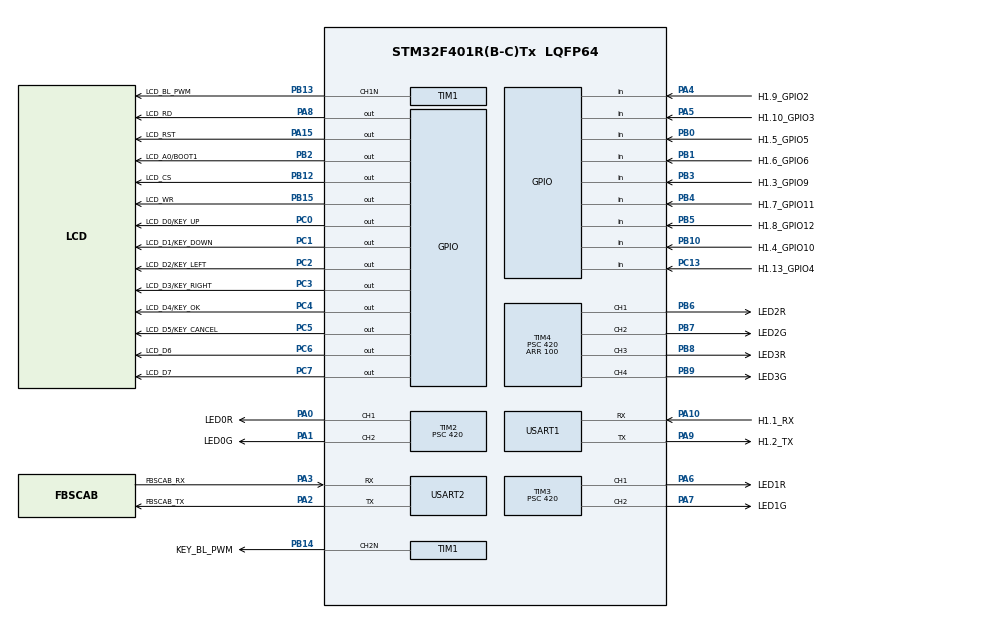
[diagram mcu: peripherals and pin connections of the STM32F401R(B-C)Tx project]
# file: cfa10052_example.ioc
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Mcu.Family=STM32F4
Mcu.Name=STM32F401R(B-C)Tx
Mcu.Package=LQFP64
NVIC.PriorityGroup=NVIC_PRIORITYGROUP_4
NVIC.USART1_IRQn=true\:0\:0\:false\:false\:true\:true\:true
PA0-WKUP.GPIO_Label=LED0R
PA0-WKUP.GPIO_Speed=GPIO_SPEED_FREQ_VERY_HIGH
PA0-WKUP.Signal=S_TIM2_CH1_ETR
PA1.GPIO_Label=LED0G
PA1.GPIO_Speed=GPIO_SPEED_FREQ_VERY_HIGH
PA1.Signal=S_TIM2_CH2
PA10.GPIO_Label=H1.1_RX
PA10.Mode=Asynchronous
PA10.Signal=USART1_RX
PA11.GPIO_Label=USB_DM
PA11.Signal=USB_OTG_FS_DM
PA12.GPIO_Label=USB_DP
PA12.Signal=USB_OTG_FS_DP
PA13.GPIO_Label=H1.11_SWDIO_GPIO0
PA13.Mode=Serial_Wire
PA13.Signal=SYS_JTMS-SWDIO
PA14.GPIO_Label=H1.12_SWCLK_GPIO1
PA14.Mode=Serial_Wire
PA14.Signal=SYS_JTCK-SWCLK
PA15.GPIO_Label=LCD_RST
PA15.GPIO_Speed=GPIO_SPEED_FREQ_VERY_HIGH
PA15.Signal=GPIO_Output
PA2.GPIO_Label=FBSCAB_TX
PA2.Mode=Asynchronous
PA2.Signal=USART2_TX
PA3.GPIO_Label=FBSCAB_RX
PA3.Mode=Asynchronous
PA3.Signal=USART2_RX
PA4.GPIO_Label=H1.9_GPIO2
PA4.Signal=GPIO_Input
PA5.GPIO_Label=H1.10_GPIO3
PA5.Signal=GPIO_Input
PA6.GPIO_Label=LED1R
PA6.GPIO_Speed=GPIO_SPEED_FREQ_VERY_HIGH
PA6.Signal=S_TIM3_CH1
PA7.GPIO_Label=LED1G
PA7.GPIO_Speed=GPIO_SPEED_FREQ_VERY_HIGH
PA7.Signal=S_TIM3_CH2
PA8.GPIO_Label=LCD_RD
PA8.GPIO_Speed=GPIO_SPEED_FREQ_VERY_HIGH
PA8.Signal=GPIO_Output
PA9.GPIO_Label=H1.2_TX
PA9.Mode=Asynchronous
PA9.Signal=USART1_TX
PB0.GPIO_Label=H1.5_GPIO5
PB0.Signal=GPIO_Input
PB1.GPIO_Label=H1.6_GPIO6
PB1.Signal=GPIO_Input
PB10.GPIO_Label=H1.4_GPIO10
PB10.Signal=GPIO_Input
PB12.GPIO_Label=LCD_CS
PB12.GPIO_Speed=GPIO_SPEED_FREQ_VERY_HIGH
PB12.Signal=GPIO_Output
PB13.GPIO_Label=LCD_BL_PWM
PB13.GPIO_Speed=GPIO_SPEED_FREQ_VERY_HIGH
PB13.Mode=PWM Generation1 CH1N
PB13.Signal=TIM1_CH1N
PB14.GPIO_Label=KEY_BL_PWM
PB14.GPIO_Speed=GPIO_SPEED_FREQ_VERY_HIGH
PB14.Mode=PWM Generation2 CH2N
PB14.Signal=TIM1_CH2N
PB15.GPIO_Label=LCD_WR
PB15.GPIO_Speed=GPIO_SPEED_FREQ_VERY_HIGH
PB15.Signal=GPIO_Output
PB2.GPIO_Label=LCD_A0/BOOT1
PB2.GPIO_Speed=GPIO_SPEED_FREQ_VERY_HIGH
PB2.Signal=GPIO_Output
PB3.GPIO_Label=H1.3_GPIO9
PB3.Signal=GPIO_Input
PB4.GPIO_Label=H1.7_GPIO11
PB4.Signal=GPIO_Input
PB5.GPIO_Label=H1.8_GPIO12
PB5.Signal=GPIO_Input
PB6.GPIO_Label=LED2R
PB6.GPIO_Speed=GPIO_SPEED_FREQ_VERY_HIGH
PB6.Signal=S_TIM4_CH1
PB7.GPIO_Label=LED2G
PB7.GPIO_Speed=GPIO_SPEED_FREQ_VERY_HIGH
PB7.Signal=S_TIM4_CH2
PB8.GPIO_Label=LED3R
PB8.GPIO_Speed=GPIO_SPEED_FREQ_VERY_HIGH
PB8.Signal=S_TIM4_CH3
PB9.GPIO_Label=LED3G
PB9.GPIO_Speed=GPIO_SPEED_FREQ_VERY_HIGH
PB9.Signal=S_TIM4_CH4
PC0.GPIO_Label=LCD_D0/KEY_UP
PC0.GPIO_Speed=GPIO_SPEED_FREQ_VERY_HIGH
PC0.Signal=GPIO_Output
PC1.GPIO_Label=LCD_D1/KEY_DOWN
PC1.GPIO_Speed=GPIO_SPEED_FREQ_VERY_HIGH
PC1.Signal=GPIO_Output
PC10.GPIO_Label=MICROSD_D2
PC10.Signal=SDIO_D2
PC11.GPIO_Label=MICROSD_D3
PC11.Signal=SDIO_D3
PC12.GPIO_Label=MICROSD_CK
PC12.Signal=SDIO_CK
PC13-ANTI_TAMP.GPIO_Label=H1.13_GPIO4
PC13-ANTI_TAMP.Signal=GPIO_Input
PC2.GPIO_Label=LCD_D2/KEY_LEFT
PC2.GPIO_Speed=GPIO_SPEED_FREQ_VERY_HIGH
PC2.Signal=GPIO_Output
PC3.GPIO_Label=LCD_D3/KEY_RIGHT
PC3.GPIO_Speed=GPIO_SPEED_FREQ_VERY_HIGH
PC3.Signal=GPIO_Output
PC4.GPIO_Label=LCD_D4/KEY_OK
PC4.GPIO_Speed=GPIO_SPEED_FREQ_VERY_HIGH
PC4.Signal=GPIO_Output
PC5.GPIO_Label=LCD_D5/KEY_CANCEL
PC5.GPIO_Speed=GPIO_SPEED_FREQ_VERY_HIGH
PC5.Signal=GPIO_Output
PC6.GPIO_Label=LCD_D6
PC6.GPIO_Speed=GPIO_SPEED_FREQ_VERY_HIGH
PC6.Signal=GPIO_Output
PC7.GPIO_Label=LCD_D7
PC7.GPIO_Speed=GPIO_SPEED_FREQ_VERY_HIGH
PC7.Signal=GPIO_Output
PC8.GPIO_Label=MICROSD_D0
PC8.Signal=SDIO_D0
PC9.GPIO_Label=MICROSD_D1
PC9.Signal=SDIO_D1
PD2.GPIO_Label=MICROSD_CMD
PD2.Signal=SDIO_CMD
PH0\ -\ OSC_IN.GPIO_Label=OSC_IN
PH0\ -\ OSC_IN.Mode=HSE-External-Oscillator
PH0\ -\ OSC_IN.Signal=RCC_OSC_IN
PH1\ -\ OSC_OUT.GPIO_Label=OSC_OUT
PH1\ -\ OSC_OUT.Mode=HSE-External-Oscillator
PH1\ -\ OSC_OUT.Signal=RCC_OSC_OUT
ProjectManager.HeapSize=0x200
ProjectManager.StackSize=0x400
ProjectManager.TargetToolchain=STM32CubeIDE
RCC.48MHZClocksFreq_Value=48000000
RCC.AHBFreq_Value=84000000
RCC.APB1CLKDivider=RCC_HCLK_DIV2
RCC.APB1Freq_Value=42000000
RCC.APB1TimFreq_Value=84000000
RCC.APB2Freq_Value=84000000
RCC.APB2TimFreq_Value=84000000
RCC.CortexFreq_Value=84000000
RCC.HCLKFreq_Value=84000000
RCC.HSE_VALUE=16000000
RCC.HSI_VALUE=16000000
RCC.LSE_VALUE=32768
RCC.PLLM=8
RCC.PLLN=168
RCC.PLLP=RCC_PLLP_DIV4
RCC.PLLQ=7
RCC.PLLSourceVirtual=RCC_PLLSOURCE_HSE
RCC.SYSCLKFreq_VALUE=84000000
RCC.SYSCLKSource=RCC_SYSCLKSOURCE_PLLCLK
RCC.VCOOutputFreq_Value=336000000
SH.S_TIM2_CH1_ETR.0=TIM2_CH1,PWM Generation1 CH1
SH.S_TIM2_CH2.0=TIM2_CH2,PWM Generation2 CH2
SH.S_TIM3_CH1.0=TIM3_CH1,PWM Generation1 CH1
SH.S_TIM3_CH2.0=TIM3_CH2,PWM Generation2 CH2
SH.S_TIM4_CH1.0=TIM4_CH1,PWM Generation1 CH1
SH.S_TIM4_CH2.0=TIM4_CH2,PWM Generation2 CH2
SH.S_TIM4_CH3.0=TIM4_CH3,PWM Generation3 CH3
SH.S_TIM4_CH4.0=TIM4_CH4,PWM Generation4 CH4
TIM1.Channel-PWM\ Generation1\ CH1N=TIM_CHANNEL_1
TIM1.Channel-PWM\ Generation2\ CH2N=TIM_CHANNEL_2
TIM1.CounterMode=TIM_COUNTERMODE_DOWN
TIM1.Period=100
TIM1.Prescaler=9
TIM2.Channel-PWM\ Generation1\ CH1=TIM_CHANNEL_1
TIM2.Channel-PWM\ Generation2\ CH2=TIM_CHANNEL_2
TIM2.Period=100
TIM2.Prescaler=420
TIM3.Channel-PWM\ Generation1\ CH1=TIM_CHANNEL_1
TIM3.Channel-PWM\ Generation2\ CH2=TIM_CHANNEL_2
TIM3.Period=100
TIM3.Prescaler=420
TIM4.Channel-PWM\ Generation1\ CH1=TIM_CHANNEL_1
TIM4.Channel-PWM\ Generation2\ CH2=TIM_CHANNEL_2
TIM4.Channel-PWM\ Generation3\ CH3=TIM_CHANNEL_3
TIM4.Channel-PWM\ Generation4\ CH4=TIM_CHANNEL_4
TIM4.Period=100
TIM4.Prescaler=420
USART1.VirtualMode=VM_ASYNC
USART2.VirtualMode=VM_ASYNC
VP_TIM1_VS_ClockSourceINT.Mode=Internal
VP_TIM2_VS_ClockSourceINT.Mode=Internal
VP_TIM3_VS_ClockSourceINT.Mode=Internal
VP_TIM4_VS_ClockSourceINT.Mode=Internal
board=custom

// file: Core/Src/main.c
/* USER CODE BEGIN Header */
/**
 ******************************************************************************
 * @file           : main.c
 * @brief          : Main program body
 ******************************************************************************
 *
 * Crystalfontz CFA10052 (hardware v1.1 onwards) example/base firmware.
 *
 * For more information about this CFA10052 example custom firmware package,
 * please see the README.md file.
 *
 ******************************************************************************
 *
 * Crystalfontz supplied source-code is provided using The Unlicense.
 * A license with no conditions whatsoever which dedicates works to the public
 * domain. Unlicensed works, modifications, and larger works may be distributed
 * under different terms and without source code.
 * See the UNLICENCE file, or https://unlicense.org/ for details.
 *
 * STM32Cube created source-code and STMicroelectronics libraries are Copyright(c)
 * 2019 STMicroelectronics. All rights reserved.
 * This software component is licensed by ST under BSD 3-Clause license,
 * the "License"; You may not use this file except in compliance with the
 * License.
 * You may obtain a copy of the License at: opensource.org/licenses/BSD-3-Clause
 *
 ******************************************************************************
 */
/* USER CODE END Header */
#include "main.h"
#include "tim.h"
#include "usart.h"
#include "gpio.h"

/* USER CODE BEGIN Includes */
#include "keypad.h"
#include "leds.h"
#include "lcd_core.h"
#include "tprintf.h"
/* USER CODE END Includes */

/* USER CODE BEGIN PD */

//LCD Controller/Panel type must be set here!
// CFA10052 hardware version v1.0 to v1.5 = LCDCORE_ST7529
// CFA10052 hardware version v1.6 to v1.9 = LCDCORE_UC1611S
// CFA10052 hardware version v1.9+ = LCDCORE_UC1611S_INV

//#define LCD_TYPE		LCDCORE_ST7529
//#define LCD_TYPE		LCDCORE_UC1611S
//#define LCD_TYPE		LCDCORE_UC1611S_INV

#ifndef LCD_TYPE
# error LCD_TYPE NOT SET!!!
#endif

/* USER CODE END PD */

/* USER CODE BEGIN PV */
uint8_t LCD_FrameBuffer[LCD_WIDTH * LCD_HEIGHT];
/* USER CODE END PV */

void SystemClock_Config(void);

/* USER CODE BEGIN 0 */
void User_USART1_IRQHandler(void)
{
	//incoming data on USART1 (CFA10052 H1, pins 1 & 2)
	//called by USART1_IRQHandler() in stm32f4xx_it.c
	//echo data back to USART1
	if (LL_USART_IsActiveFlag_RXNE(USART1))
	{
		uint8_t Data = LL_USART_ReceiveData8(USART1);
		LL_USART_TransmitData8(USART1, Data);
		LL_USART_ClearFlag_RXNE(USART1);
	}
}
/* USER CODE END 0 */

int main(void)
{

	/* MCU Configuration--------------------------------------------------------*/

	/* Reset of all peripherals, Initializes the Flash interface and the Systick. */

	LL_APB2_GRP1_EnableClock(LL_APB2_GRP1_PERIPH_SYSCFG);
	LL_APB1_GRP1_EnableClock(LL_APB1_GRP1_PERIPH_PWR);

	NVIC_SetPriorityGrouping(NVIC_PRIORITYGROUP_4);

	/* System interrupt init*/

	/* Configure the system clock */
	SystemClock_Config();

	/* Initialize all configured peripherals */
	MX_GPIO_Init();
	MX_TIM1_Init();
	MX_TIM2_Init();
	MX_TIM3_Init();
	MX_TIM4_Init();
	MX_USART1_UART_Init();
	MX_USART2_UART_Init();
	/* USER CODE BEGIN 2 */

	//CFA10052 specific init's
	LL_SYSTICK_EnableIT();
	LEDs_Init();
	Keypad_Init();
	LCDCore_Init(LCD_TYPE);

	/* USER CODE END 2 */

	/* Infinite loop */
	/* USER CODE BEGIN WHILE */
	char TempS[40];
	uint8_t LEDRotate = 0;
	uint8_t Contrast = 128;
	uint8_t Backlight = 40;
	uint8_t Keypad = 30;
	uint8_t c = 0;
	uint8_t Pressed[BUTTON_COUNT] =	{ 0, };
	while (1)
	{
		//keypad check
		Keypad_CheckButtons();

		//display / leds update (every ~500mS)
		if (c++ > 100)
		{
			//led rotate
			LEDs_Set(LED_1_RED, (LEDRotate == 0) ? 100 : 0);
			LEDs_Set(LED_1_GREEN, (LEDRotate == 0) ? 0 : 100);
			LEDs_Set(LED_2_RED, (LEDRotate == 1) ? 100 : 0);
			LEDs_Set(LED_2_GREEN, (LEDRotate == 1) ? 0 : 100);
			LEDs_Set(LED_3_RED, (LEDRotate == 2) ? 100 : 0);
			LEDs_Set(LED_3_GREEN, (LEDRotate == 2) ? 0 : 100);
			LEDs_Set(LED_4_RED, (LEDRotate == 3) ? 100 : 0);
			LEDs_Set(LED_4_GREEN, (LEDRotate == 3) ? 0 : 100);
			LEDRotate++;
			if (LEDRotate > 3)
				LEDRotate = 0;

			//handle button holding
			if (Keypad_ButtonState[KEY_UP] & BUTTON_HELD)
				Backlight += (Backlight > 97) ? 0 : 4;
			if (Keypad_ButtonState[KEY_DOWN] & BUTTON_HELD)
				Backlight -= (Backlight < 4) ? 0 : 4;

			if (Keypad_ButtonState[KEY_RIGHT] & BUTTON_HELD)
				Contrast += (Contrast > 0xFE) ? 0 : 2;
			if (Keypad_ButtonState[KEY_LEFT] & BUTTON_HELD)
				Contrast -= (Contrast < 2) ? 0 : 2;

			if (Keypad_ButtonState[KEY_ENTER] & BUTTON_HELD)
				Keypad += (Keypad > 97) ? 0 : 4;
			if (Keypad_ButtonState[KEY_CANCEL] & BUTTON_HELD)
				Keypad -= (Keypad < 4) ? 0 : 4;

			//update lcd
			uint16_t x, y;
			//blank the frame buffer
			memset(LCD_FrameBuffer, 0x00, LCD_WIDTH * LCD_HEIGHT);
			//draw alternating check pattern
			if (LEDRotate >> 1)
				for (x = 0; x < LCD_WIDTH / 2; x++)
					for (y = 0; y < LCD_HEIGHT; y++)
						LCD_FrameBuffer[(x * 2) + (y & 1) + (y * LCD_WIDTH)] = 0xFF;
			else
				for (x = 0; x < LCD_WIDTH / 2; x++)
					for (y = 0; y < LCD_HEIGHT; y++)
						LCD_FrameBuffer[(x * 2) + (1 - (y & 1)) + (y * LCD_WIDTH)] = 0xFF;
			//draw a box
			for (x = 0; x < LCD_WIDTH; x++)
			{
				LCD_FrameBuffer[x] = 0xFF;
				LCD_FrameBuffer[x + ((LCD_HEIGHT - 1) * LCD_WIDTH)] = 0xFF;
			}
			for (y = 0; y < LCD_HEIGHT; y++)
			{
				LCD_FrameBuffer[(LCD_WIDTH * y)] = 0xFF;
				LCD_FrameBuffer[(LCD_WIDTH - 1) + (LCD_WIDTH * y)] = 0xFF;
			}
			//blank out a text box
			for (x = 12; x < 105; x++)
				for (y = 8; y < 54; y++)
					LCD_FrameBuffer[x + (y * LCD_WIDTH)] = 0;
			//show info text
			tsprintf(TempS, "Backlight: %03d", Backlight);
			Font_WriteString(LCD_FrameBuffer, 10, 10, TempS);
			tsprintf(TempS, "Keypad BL: %03d", Keypad);
			Font_WriteString(LCD_FrameBuffer, 10, 22, TempS);
			tsprintf(TempS, "Contrast : %03d", Contrast);
			Font_WriteString(LCD_FrameBuffer, 10, 34, TempS);
			//show button status
			tsprintf(TempS, "Keypad Check: U%c D%c L%c R%c E%c X%c", (Pressed[KEY_UP] ? '\xBB' : '.'), (Pressed[KEY_DOWN] ? '\xBB' : '.'),
				(Pressed[KEY_LEFT] ? '\xBB' : '.'), (Pressed[KEY_RIGHT] ? '\xBB' : '.'), (Pressed[KEY_ENTER] ? '\xBB' : '.'),
				(Pressed[KEY_CANCEL] ? '\xBB' : '.'));
			Font_WriteString(LCD_FrameBuffer, 10, 34 + 12, TempS);
			//write framebuffer to lcd controller ic
			LCDCore_BufferToLCD(LCD_FrameBuffer);

			//reset loop counter
			c = 0;
		}

		//handle button presses
		if (Keypad_ButtonState[KEY_UP] & BUTTON_RELEASED)
		{
			Backlight += (Backlight > 99) ? 0 : 1;
			Pressed[KEY_UP] = 1;
		}
		if (Keypad_ButtonState[KEY_DOWN] & BUTTON_RELEASED)
		{
			Backlight -= (Backlight == 0) ? 0 : 1;
			Pressed[KEY_DOWN] = 1;
		}

		if (Keypad_ButtonState[KEY_RIGHT] & BUTTON_RELEASED)
		{
			Contrast += (Contrast > 0xFF) ? 0 : 1;
			Pressed[KEY_RIGHT] = 1;
		}
		if (Keypad_ButtonState[KEY_LEFT] & BUTTON_RELEASED)
		{
			Contrast -= (Contrast == 0) ? 0 : 1;
			Pressed[KEY_LEFT] = 1;
		}

		if (Keypad_ButtonState[KEY_ENTER] & BUTTON_RELEASED)
		{
			Keypad += (Keypad > 99) ? 0 : 1;
			Pressed[KEY_ENTER] = 1;
		}
		if (Keypad_ButtonState[KEY_CANCEL] & BUTTON_RELEASED)
		{
			Keypad -= (Keypad == 0) ? 0 : 1;
			Pressed[KEY_CANCEL] = 1;
		}

		//update contrst
		LCDCore_SetContrast(Contrast);
		//update lcd backlight brightness
		LEDs_LCDBacklightSet(Backlight);
		//update keypad backlight brightness
		LEDs_KeypadBacklightSet(Keypad);
		//loop delay
		LL_mDelay(5);            //5mS
		/* USER CODE END WHILE */

	}
}

void SystemClock_Config(void)
{
	LL_FLASH_SetLatency(LL_FLASH_LATENCY_2);
	while (LL_FLASH_GetLatency() != LL_FLASH_LATENCY_2)
	{
	}
	LL_PWR_SetRegulVoltageScaling(LL_PWR_REGU_VOLTAGE_SCALE2);
	LL_RCC_HSE_Enable();

	/* Wait till HSE is ready */
	while (LL_RCC_HSE_IsReady() != 1)
	{

	}
	LL_RCC_PLL_ConfigDomain_SYS(LL_RCC_PLLSOURCE_HSE, LL_RCC_PLLM_DIV_8, 168, LL_RCC_PLLP_DIV_4);
	LL_RCC_PLL_Enable();

	/* Wait till PLL is ready */
	while (LL_RCC_PLL_IsReady() != 1)
	{

	}
	LL_RCC_SetAHBPrescaler(LL_RCC_SYSCLK_DIV_1);
	LL_RCC_SetAPB1Prescaler(LL_RCC_APB1_DIV_2);
	LL_RCC_SetAPB2Prescaler(LL_RCC_APB2_DIV_1);
	LL_RCC_SetSysClkSource(LL_RCC_SYS_CLKSOURCE_PLL);

	/* Wait till System clock is ready */
	while (LL_RCC_GetSysClkSource() != LL_RCC_SYS_CLKSOURCE_STATUS_PLL)
	{

	}
	LL_Init1msTick(84000000);
	LL_SetSystemCoreClock(84000000);
	LL_RCC_SetTIMPrescaler(LL_RCC_TIM_PRESCALER_TWICE);
}

void Error_Handler(void)
{
}

/************************ (C) COPYRIGHT STMicroelectronics *****END OF FILE****/
